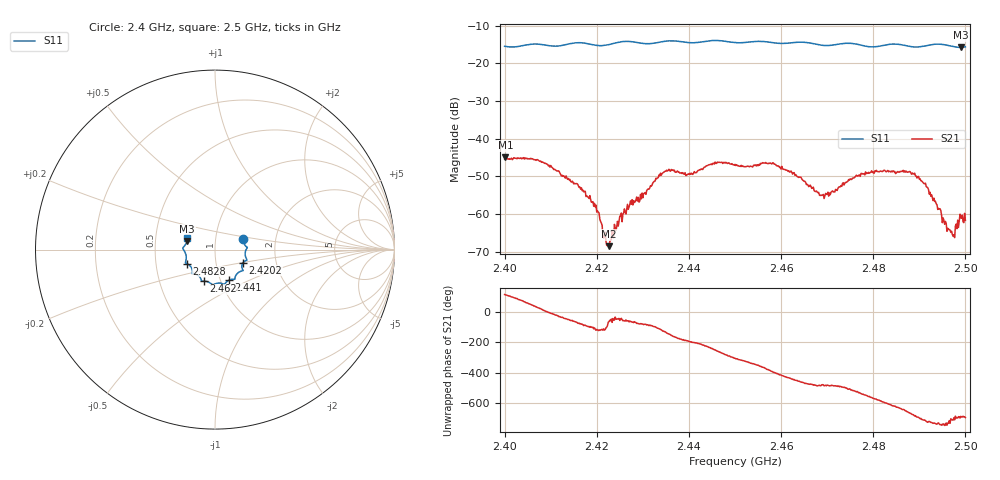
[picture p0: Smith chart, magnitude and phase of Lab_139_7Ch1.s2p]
# Hz S RI R 50
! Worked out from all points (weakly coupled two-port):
!   601 points, 2.4 GHz to 2.5 GHz, reference 50 ohm
!   highest |S21| = -44.95 dB at 2.4002 GHz (marker M1); lowest = -68.5 dB at 2.4227 GHz (marker M2)
!   lowest |S11| = -15.8 dB at 2.499 GHz (marker M3), VSWR 1.39, Z = 36.4 + j3.6 ohm
!   |S11| at or under -10 dB: start of sweep to end of sweep
!   S12 and S22 are empty: the file has one direction only
!   S11 on the Smith chart (normalised r, x): 2.4 GHz: 1.36, +0.17; 2.4202 GHz: 1.35, -0.20; 2.441 GHz: 1.10, -0.39; 2.462 GHz: 0.83, -0.30; 2.4828 GHz: 0.72, -0.12; 2.5 GHz: 0.73, +0.09
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2.4e9  0.157 0.0607  -0.00227 0.0049  0 0  0 0
2.400167e9  0.157 0.059  -0.0022 0.00521  0 0  0 0
2.4075e9  0.1789 0.00925  0.00459 0.00219  0 0  0 0
2.416667e9  0.1777 -0.0591  0.000374 -0.00221  0 0  0 0
2.420167e9  0.1565 -0.0719  -0.000536 -0.000961  0 0  0 0
2.421833e9  0.1497 -0.0873  -0.000252 -0.000523  0 0  0 0
2.422667e9  0.1492 -0.0955  0.000175 -0.000333  0 0  0 0
2.427167e9  0.1551 -0.1177  0.000686 -0.00116  0 0  0 0
2.433333e9  0.1126 -0.152  -0.000931 -0.0029  0 0  0 0
2.441e9  0.0773 -0.1707  -0.0033 0.00125  0 0  0 0
2.45e9  0.0269 -0.1864  0.00263 0.00374  0 0  0 0
2.457833e9  -0.024 -0.1878  0.00404 -0.00239  0 0  0 0
2.462e9  -0.0617 -0.176  0.000816 -0.00355  0 0  0 0
2.466667e9  -0.0773 -0.1672  -0.000987 -0.00196  0 0  0 0
2.469833e9  -0.0947 -0.1437  -0.0011 -0.00148  0 0  0 0
2.4765e9  -0.1261 -0.1273  -0.0031 -0.000882  0 0  0 0
2.482833e9  -0.158 -0.0778  -0.00178 0.00318  0 0  0 0
2.483333e9  -0.1608 -0.0764  -0.00139 0.00337  0 0  0 0
2.490167e9  -0.1644 -0.0206  0.00282 0.000857  0 0  0 0
2.497167e9  -0.1656 0.0261  0.000535 6.95e-05  0 0  0 0
2.499e9  -0.1555 0.0482  0.000759 0.000474  0 0  0 0
2.5e9  -0.1533 0.0622  0.000756 0.000337  0 0  0 0
